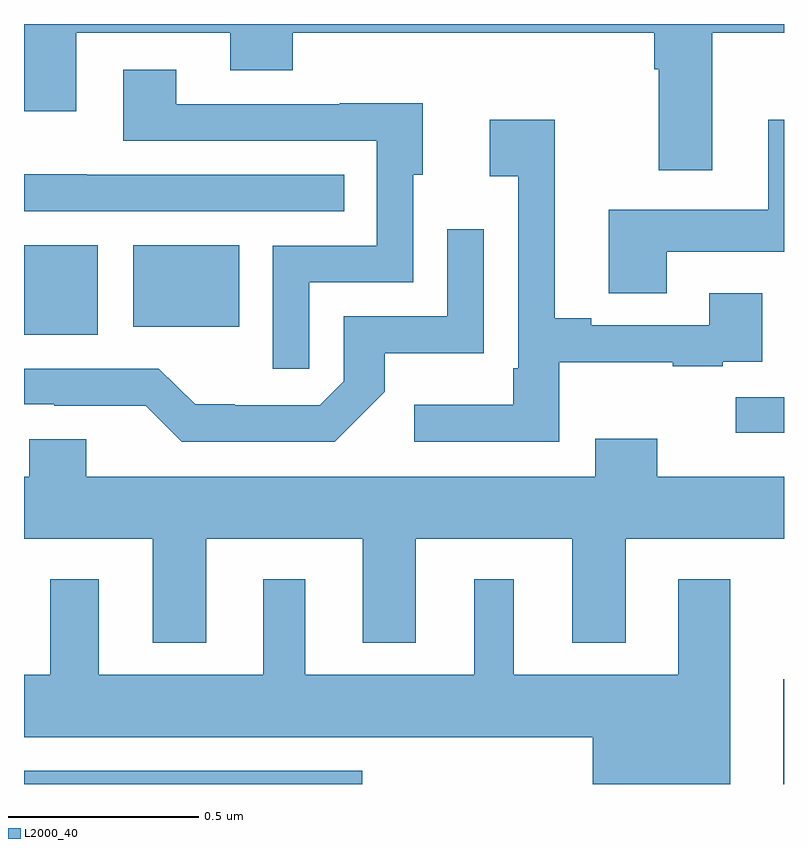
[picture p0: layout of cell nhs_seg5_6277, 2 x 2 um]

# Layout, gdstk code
import gdstk
lib = gdstk.Library(unit=1e-6, precision=1e-09)
def R(c, l, rs):  # rectangles x0, y0, x1, y1
    for r in rs: c.add(gdstk.rectangle(r[:2], r[2:], *l))
def P(c, l, *ps):  # polygons
    for p in ps: c.add(gdstk.Polygon(p, *l))
L2000_40 = (2000, 40)

nhs_seg5_6277 = lib.new_cell('nhs_seg5_6277')
R(nhs_seg5_6277, L2000_40, [(194,838.799,194.89,838.834), (195.998,838.799,196,839.075), (195.873,839.723,196,839.817), (194,839.981,194.194,840.217), (194.288,840.002,194.566,840.217)])
P(nhs_seg5_6277, L2000_40, [(195.811,840.776),(196,840.776),(196,840.799),(194,840.799),(194,840.57),(194.137,840.57),(194.137,840.776),(194.543,840.776),(194.543,840.677),(194.707,840.677),(194.707,840.776),(195.659,840.776),(195.659,840.68),(195.671,840.68),(195.671,840.414),(195.811,840.414)],
  [(194.751,840.12),(195.024,840.12),(195.024,840.402),(195.049,840.402),(195.049,840.59),(194.831,840.59),(194.831,840.588),(194.401,840.588),(194.401,840.679),(194.261,840.679),(194.261,840.492),(194.928,840.492),(194.928,840.216),(194.655,840.216),(194.655,839.892),(194.751,839.892)],
  [(195.691,840.2),(196,840.2),(196,840.547),(195.959,840.547),(195.959,840.31),(195.539,840.31),(195.539,840.091),(195.691,840.091)],
  [(195.409,839.909),(195.707,839.909),(195.707,839.898),(195.839,839.898),(195.839,839.91),(195.943,839.91),(195.943,840.091),(195.803,840.091),(195.803,840.006),(195.493,840.006),(195.493,840.025),(195.397,840.025),(195.397,840.547),(195.225,840.547),(195.225,840.398),(195.3,840.398),(195.3,839.893),(195.288,839.893),(195.288,839.797),(195.027,839.797),(195.027,839.7),(195.409,839.7)],
  [(194.843,840.402),(194.165,840.402),(194.165,840.403),(194,840.403),(194,840.306),(194.843,840.306)],
  [(194.949,839.831),(194.949,839.933),(195.21,839.933),(195.21,840.259),(195.114,840.259),(195.114,840.03),(194.841,840.03),(194.841,839.859),(194.778,839.796),(194.554,839.796),(194.554,839.798),(194.45,839.798),(194.355,839.892),(194,839.892),(194,839.799),(194.08,839.799),(194.08,839.795),(194.321,839.795),(194.415,839.7),(194.818,839.7)],
  [(194.479,839.444),(194.891,839.444),(194.891,839.171),(195.031,839.171),(195.031,839.444),(195.443,839.444),(195.443,839.171),(195.583,839.171),(195.583,839.444),(196,839.444),(196,839.608),(195.667,839.608),(195.667,839.707),(195.503,839.707),(195.503,839.608),(194.164,839.608),(194.164,839.706),(194.014,839.706),(194.014,839.608),(194,839.608),(194,839.444),(194.339,839.444),(194.339,839.171),(194.479,839.171)],
  [(195.859,839.338),(195.722,839.338),(195.722,839.086),(195.289,839.086),(195.289,839.338),(195.185,839.338),(195.185,839.086),(194.74,839.086),(194.74,839.338),(194.63,839.338),(194.63,839.086),(194.197,839.086),(194.197,839.338),(194.069,839.338),(194.069,839.086),(194,839.086),(194,838.922),(195.497,838.922),(195.497,838.799),(195.859,838.799)])

lib.write_gds('nhs_seg5_6277.gds')
